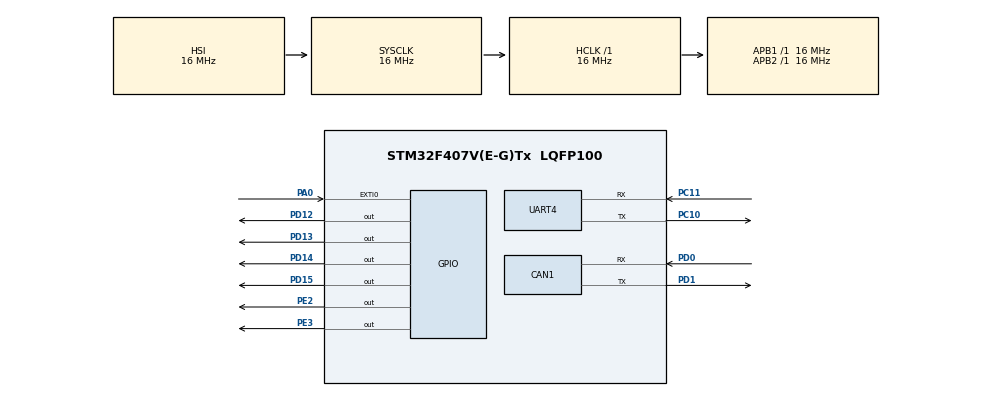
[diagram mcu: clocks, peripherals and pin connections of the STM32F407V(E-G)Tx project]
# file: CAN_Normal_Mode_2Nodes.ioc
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CAN1.ABOM=ENABLE
CAN1.BS1=CAN_BS1_8TQ
CAN1.CalculateTimeQuantum=1000.0
CAN1.NART=ENABLE
Mcu.Family=STM32F4
Mcu.Name=STM32F407V(E-G)Tx
Mcu.Package=LQFP100
NVIC.CAN1_RX0_IRQn=true\:0\:0\:false\:false\:true\:true\:true
NVIC.CAN1_RX1_IRQn=true\:0\:0\:false\:false\:true\:true\:true
NVIC.CAN1_SCE_IRQn=true\:0\:0\:false\:false\:true\:true\:true
NVIC.CAN1_TX_IRQn=true\:0\:0\:false\:false\:true\:true\:true
NVIC.EXTI0_IRQn=true\:0\:0\:false\:false\:true\:true\:true
NVIC.PriorityGroup=NVIC_PRIORITYGROUP_4
NVIC.TIM2_IRQn=true\:0\:0\:false\:false\:true\:true\:true
PA0-WKUP.Signal=GPXTI0
PC10.Mode=Asynchronous
PC10.Signal=UART4_TX
PC11.Mode=Asynchronous
PC11.Signal=UART4_RX
PD0.Mode=Master
PD0.Signal=CAN1_RX
PD1.Mode=Master
PD1.Signal=CAN1_TX
PD12.Signal=GPIO_Output
PD13.Signal=GPIO_Output
PD14.Signal=GPIO_Output
PD15.Signal=GPIO_Output
PE2.Signal=GPIO_Output
PE3.Signal=GPIO_Output
ProjectManager.HeapSize=0x200
ProjectManager.StackSize=0x400
ProjectManager.TargetToolchain=STM32CubeIDE
RCC.AHBFreq_Value=16000000
RCC.APB1Freq_Value=16000000
RCC.APB2Freq_Value=16000000
RCC.CortexFreq_Value=16000000
RCC.HSE_VALUE=25000000
RCC.HSI_VALUE=16000000
RCC.LSE_VALUE=32768
RCC.SYSCLKFreq_VALUE=16000000
RCC.VCOOutputFreq_Value=192000000
TIM2.AutoReloadPreload=TIM_AUTORELOAD_PRELOAD_ENABLE
TIM2.Period=1000
TIM2.Prescaler=16000
TIM2.TIM_MasterOutputTrigger=TIM_TRGO_UPDATE
UART4.VirtualMode=Asynchronous
VP_TIM2_VS_ClockSourceINT.Mode=Internal
board=custom

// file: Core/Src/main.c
/* USER CODE BEGIN Header */
/**
 ******************************************************************************
 * @file           : main.c
 * @brief          : Main program body
 ******************************************************************************
 * @attention
 *
 * <h2><center>&copy; Copyright (c) 2020 STMicroelectronics.
 * All rights reserved.</center></h2>
 *
 * This software component is licensed by ST under BSD 3-Clause license,
 * the "License"; You may not use this file except in compliance with the
 * License. You may obtain a copy of the License at:
 *                        opensource.org/licenses/BSD-3-Clause
 *
 ******************************************************************************
 */
/* USER CODE END Header */

#include "main.h"

/* USER CODE BEGIN Includes */
#include <string.h>
#include <stdio.h>
/* USER CODE END Includes */

CAN_HandleTypeDef hcan1;

TIM_HandleTypeDef htim2;

UART_HandleTypeDef huart4;

void SystemClock_Config(void);
static void MX_GPIO_Init(void);
static void MX_CAN1_Init(void);
static void MX_UART4_Init(void);
static void MX_TIM2_Init(void);
/* USER CODE BEGIN PFP */
void can1_tx(void);
void can1_rx(void);
void can1_filter_config(void);
void LED_Manage_Output(uint8_t val);
void Send_Response(void);
/* USER CODE END PFP */

/* USER CODE BEGIN 0 */
uint8_t req_counter = 0;
/* USER CODE END 0 */

int main(void)
{

  /* MCU Configuration--------------------------------------------------------*/

  /* Reset of all peripherals, Initializes the Flash interface and the Systick. */
  HAL_Init();

  /* Configure the system clock */
  SystemClock_Config();

  /* Initialize all configured peripherals */
  MX_GPIO_Init();
  MX_CAN1_Init();
  MX_UART4_Init();
  MX_TIM2_Init();
  /* USER CODE BEGIN 2 */

  can1_filter_config();

  if (HAL_CAN_ActivateNotification(&hcan1, CAN_IT_TX_MAILBOX_EMPTY | CAN_IT_RX_FIFO0_MSG_PENDING | CAN_IT_BUSOFF) != HAL_OK) //set interrupt enable bits
  {
	Error_Handler();
  }

  if (HAL_CAN_Start(&hcan1) != HAL_OK) //moves operating mode from initialization to normal
  {
    Error_Handler();
  }

  char arr[] = "Hello";
  HAL_UART_Transmit(&huart4, (uint8_t*) arr, (uint16_t) strlen(arr), HAL_MAX_DELAY);
  /* USER CODE END 2 */

  /* Infinite loop */
	while (1) {

	}
}

void SystemClock_Config(void)
{
  RCC_OscInitTypeDef RCC_OscInitStruct = {0};
  RCC_ClkInitTypeDef RCC_ClkInitStruct = {0};

  /** Configure the main internal regulator output voltage
  */
  __HAL_RCC_PWR_CLK_ENABLE();
  __HAL_PWR_VOLTAGESCALING_CONFIG(PWR_REGULATOR_VOLTAGE_SCALE1);
  /** Initializes the CPU, AHB and APB busses clocks
  */
  RCC_OscInitStruct.OscillatorType = RCC_OSCILLATORTYPE_HSI;
  RCC_OscInitStruct.HSIState = RCC_HSI_ON;
  RCC_OscInitStruct.HSICalibrationValue = RCC_HSICALIBRATION_DEFAULT;
  RCC_OscInitStruct.PLL.PLLState = RCC_PLL_NONE;
  if (HAL_RCC_OscConfig(&RCC_OscInitStruct) != HAL_OK)
  {
    Error_Handler();
  }
  /** Initializes the CPU, AHB and APB busses clocks
  */
  RCC_ClkInitStruct.ClockType = RCC_CLOCKTYPE_HCLK|RCC_CLOCKTYPE_SYSCLK
                              |RCC_CLOCKTYPE_PCLK1|RCC_CLOCKTYPE_PCLK2;
  RCC_ClkInitStruct.SYSCLKSource = RCC_SYSCLKSOURCE_HSI;
  RCC_ClkInitStruct.AHBCLKDivider = RCC_SYSCLK_DIV1;
  RCC_ClkInitStruct.APB1CLKDivider = RCC_HCLK_DIV1;
  RCC_ClkInitStruct.APB2CLKDivider = RCC_HCLK_DIV1;

  if (HAL_RCC_ClockConfig(&RCC_ClkInitStruct, FLASH_LATENCY_0) != HAL_OK)
  {
    Error_Handler();
  }
}

static void MX_CAN1_Init(void)
{

  hcan1.Instance = CAN1;
  hcan1.Init.Prescaler = 2;
  hcan1.Init.Mode = CAN_MODE_NORMAL;
  hcan1.Init.SyncJumpWidth = CAN_SJW_1TQ;
  hcan1.Init.TimeSeg1 = CAN_BS1_6TQ;
  hcan1.Init.TimeSeg2 = CAN_BS2_1TQ;
  hcan1.Init.TimeTriggeredMode = DISABLE;
  hcan1.Init.AutoBusOff = ENABLE;
  hcan1.Init.AutoWakeUp = DISABLE;
  hcan1.Init.AutoRetransmission = ENABLE;
  hcan1.Init.ReceiveFifoLocked = DISABLE;
  hcan1.Init.TransmitFifoPriority = DISABLE;
  if (HAL_CAN_Init(&hcan1) != HAL_OK)
  {
    Error_Handler();
  }

}

static void MX_TIM2_Init(void)
{

  TIM_ClockConfigTypeDef sClockSourceConfig = {0};
  TIM_MasterConfigTypeDef sMasterConfig = {0};

  htim2.Instance = TIM2;
  htim2.Init.Prescaler = 16000;
  htim2.Init.CounterMode = TIM_COUNTERMODE_UP;
  htim2.Init.Period = 1000;
  htim2.Init.ClockDivision = TIM_CLOCKDIVISION_DIV1;
  htim2.Init.AutoReloadPreload = TIM_AUTORELOAD_PRELOAD_ENABLE;
  if (HAL_TIM_Base_Init(&htim2) != HAL_OK)
  {
    Error_Handler();
  }
  sClockSourceConfig.ClockSource = TIM_CLOCKSOURCE_INTERNAL;
  if (HAL_TIM_ConfigClockSource(&htim2, &sClockSourceConfig) != HAL_OK)
  {
    Error_Handler();
  }
  sMasterConfig.MasterOutputTrigger = TIM_TRGO_UPDATE;
  sMasterConfig.MasterSlaveMode = TIM_MASTERSLAVEMODE_DISABLE;
  if (HAL_TIMEx_MasterConfigSynchronization(&htim2, &sMasterConfig) != HAL_OK)
  {
    Error_Handler();
  }

}

static void MX_UART4_Init(void)
{

  huart4.Instance = UART4;
  huart4.Init.BaudRate = 115200;
  huart4.Init.WordLength = UART_WORDLENGTH_8B;
  huart4.Init.StopBits = UART_STOPBITS_1;
  huart4.Init.Parity = UART_PARITY_NONE;
  huart4.Init.Mode = UART_MODE_TX_RX;
  huart4.Init.HwFlowCtl = UART_HWCONTROL_NONE;
  huart4.Init.OverSampling = UART_OVERSAMPLING_16;
  if (HAL_UART_Init(&huart4) != HAL_OK)
  {
    Error_Handler();
  }

}

static void MX_GPIO_Init(void)
{
  GPIO_InitTypeDef GPIO_InitStruct = {0};

  /* GPIO Ports Clock Enable */
  __HAL_RCC_GPIOE_CLK_ENABLE();
  __HAL_RCC_GPIOA_CLK_ENABLE();
  __HAL_RCC_GPIOD_CLK_ENABLE();
  __HAL_RCC_GPIOC_CLK_ENABLE();

  /*Configure GPIO pin Output Level */
  HAL_GPIO_WritePin(GPIOE, GPIO_PIN_2|GPIO_PIN_3, GPIO_PIN_RESET);

  /*Configure GPIO pin Output Level */
  HAL_GPIO_WritePin(GPIOD, GPIO_PIN_12|GPIO_PIN_13|GPIO_PIN_14|GPIO_PIN_15, GPIO_PIN_RESET);

  /*Configure GPIO pins : PE2 PE3 */
  GPIO_InitStruct.Pin = GPIO_PIN_2|GPIO_PIN_3;
  GPIO_InitStruct.Mode = GPIO_MODE_OUTPUT_PP;
  GPIO_InitStruct.Pull = GPIO_NOPULL;
  GPIO_InitStruct.Speed = GPIO_SPEED_FREQ_LOW;
  HAL_GPIO_Init(GPIOE, &GPIO_InitStruct);

  /*Configure GPIO pin : PA0 */
  GPIO_InitStruct.Pin = GPIO_PIN_0;
  GPIO_InitStruct.Mode = GPIO_MODE_IT_RISING;
  GPIO_InitStruct.Pull = GPIO_NOPULL;
  HAL_GPIO_Init(GPIOA, &GPIO_InitStruct);

  /*Configure GPIO pins : PD12 PD13 PD14 PD15 */
  GPIO_InitStruct.Pin = GPIO_PIN_12|GPIO_PIN_13|GPIO_PIN_14|GPIO_PIN_15;
  GPIO_InitStruct.Mode = GPIO_MODE_OUTPUT_PP;
  GPIO_InitStruct.Pull = GPIO_NOPULL;
  GPIO_InitStruct.Speed = GPIO_SPEED_FREQ_LOW;
  HAL_GPIO_Init(GPIOD, &GPIO_InitStruct);

  /* EXTI interrupt init*/
  HAL_NVIC_SetPriority(EXTI0_IRQn, 0, 0);
  HAL_NVIC_EnableIRQ(EXTI0_IRQn);

}

/* USER CODE BEGIN 4 */
void LED_Manage_Output(uint8_t val)
{
	switch(val)
	{
		case 1:
			HAL_GPIO_WritePin(GPIOE, GPIO_PIN_12, GPIO_PIN_SET);
			HAL_GPIO_WritePin(GPIOE, GPIO_PIN_13, GPIO_PIN_RESET);
			HAL_GPIO_WritePin(GPIOD, GPIO_PIN_14, GPIO_PIN_RESET);
			HAL_GPIO_WritePin(GPIOD, GPIO_PIN_15, GPIO_PIN_RESET);

			break;
		case 2:
			HAL_GPIO_WritePin(GPIOE, GPIO_PIN_12, GPIO_PIN_RESET);
			HAL_GPIO_WritePin(GPIOE, GPIO_PIN_13, GPIO_PIN_SET);
			HAL_GPIO_WritePin(GPIOD, GPIO_PIN_14, GPIO_PIN_RESET);
			HAL_GPIO_WritePin(GPIOD, GPIO_PIN_15, GPIO_PIN_RESET);

			break;

		case 3:
			HAL_GPIO_WritePin(GPIOD, GPIO_PIN_12, GPIO_PIN_RESET);
			HAL_GPIO_WritePin(GPIOD, GPIO_PIN_13, GPIO_PIN_RESET);
		    HAL_GPIO_WritePin(GPIOD, GPIO_PIN_14, GPIO_PIN_SET);
			HAL_GPIO_WritePin(GPIOD, GPIO_PIN_15, GPIO_PIN_RESET);
			break;
		case 4:
			HAL_GPIO_WritePin(GPIOD, GPIO_PIN_12, GPIO_PIN_RESET);
			HAL_GPIO_WritePin(GPIOD, GPIO_PIN_13, GPIO_PIN_RESET);
			HAL_GPIO_WritePin(GPIOD, GPIO_PIN_14, GPIO_PIN_RESET);
			HAL_GPIO_WritePin(GPIOD, GPIO_PIN_15, GPIO_PIN_SET);
		    break;

		default:
			HAL_GPIO_WritePin(GPIOE, GPIO_PIN_2, GPIO_PIN_RESET);
			HAL_GPIO_WritePin(GPIOE, GPIO_PIN_3, GPIO_PIN_RESET);
			HAL_GPIO_WritePin(GPIOD, GPIO_PIN_14, GPIO_PIN_RESET);
		    HAL_GPIO_WritePin(GPIOD, GPIO_PIN_15, GPIO_PIN_RESET);
		    break;
	}
}

void Send_Response(void)
{
	CAN_TxHeaderTypeDef TxHeader;   //header of the CAN Tx message
	uint32_t txMailbox;
	uint8_t msg[2] = {0xAB, 0xBA};

	TxHeader.DLC = 2;				//Length of data to be sent in bytes
	TxHeader.StdId = 0x651; 		//Standard CAN message 11-bit identifier, not extended identifier 29-bit identifier
	TxHeader.IDE = CAN_ID_STD;		//Type of identifier (standard or extended)
	TxHeader.RTR = CAN_RTR_DATA; 	//N2 sending data frame in response to remote frame from N1

	if (HAL_CAN_AddTxMessage(&hcan1, &TxHeader, msg, &txMailbox) != HAL_OK) {
			Error_Handler();
		}
}

void can1_filter_config(void) {
	CAN_FilterTypeDef can1_filter_init;

	can1_filter_init.FilterActivation = CAN_FILTER_ENABLE; //enable the CAN filter
	can1_filter_init.FilterBank = 0; //out of 28 filter banks, use the 0th filter bank
	can1_filter_init.FilterFIFOAssignment = CAN_RX_FIFO0; //selecting the FIFO to be used (FIFO 0 or FIFO 1)
	can1_filter_init.FilterIdHigh = 0x0000; //setting the identifier reigster of the filter bank (accept all messages)
	can1_filter_init.FilterIdLow = 0x0000;
	can1_filter_init.FilterMaskIdHigh = 0x0000; //setting the mask reigster of the filter bank (accept all messages)
	can1_filter_init.FilterMaskIdLow = 0x0000;
	can1_filter_init.FilterMode = CAN_FILTERMODE_IDMASK; //to select the filter mode (mask mode or identifier list mode)
	can1_filter_init.FilterScale = CAN_FILTERSCALE_32BIT; //to select filter scale (filter registers to be used as 16 bit or 32 bit registers). Mostly used are 32 bit configurations.

	if (HAL_CAN_ConfigFilter(&hcan1, &can1_filter_init) != HAL_OK) { //configure the filter for CAN1
		Error_Handler();
	}
}

uint8_t led_num = 0;

void can1_tx(void) {
	CAN_TxHeaderTypeDef TxHeader; //header of the CAN Tx message

	/*HAL_CAN_AddTxMessage() updates the value of this variable depending
	 the Tx mailbox (out of the 3) in which the message is added
	 */
	uint32_t txMailbox;

	//message to be sent
	uint8_t msg;

	TxHeader.DLC = 1;				//Length of data to be sent in bytes
	TxHeader.StdId = 0x65D; 		//Standard CAN message 11-bit identifier, not extended identifier 29-bit identifier
	TxHeader.IDE = CAN_ID_STD;		//Type of identifier (standard or extended)
	TxHeader.RTR = CAN_RTR_DATA; 	//Sending data frame

	msg = ++led_num;
	if (led_num == 3)
	{
		led_num = 1;
		msg = 1;
	}

	//to add the Tx message to the mailbox and triggers transmission
	if (HAL_CAN_AddTxMessage(&hcan1, &TxHeader, &msg, &txMailbox) != HAL_OK) {
		Error_Handler();
	}

	/*
	 //polling for message to be sent
	 while(HAL_CAN_IsTxMessagePending(&hcan1, txMailbox));

	 //sending a message over UART after CAN message is transmitted
	 char arr[50];
	 sprintf((char *)arr, "Message Transmitted\n");
	 HAL_UART_Transmit(&huart4, (uint8_t *)arr, (uint16_t) strlen(arr), HAL_MAX_DELAY); //blocking UART Tx
	 */
}

//not used
void can1_rx(void) {
	CAN_RxHeaderTypeDef RxHeader;
	/*
	 * Why do we not need to initialize variable RxHeader here? We initialized TxHeader in CAN1_Tx().
	 *	-> It is not mandatory. Since all the members of this structure will be filled by the Rx API.
	 */

	uint8_t rcvd_msg[5];			//to store received data

	while (HAL_CAN_GetRxFifoFillLevel(&hcan1, CAN_RX_FIFO0))
		; //check if any message present in Rx FIFO. Returns the no. of mailboxes filled in the FIFO specified

	if (HAL_CAN_GetRxMessage(&hcan1, CAN_RX_FIFO0, &RxHeader, rcvd_msg)
			!= HAL_OK) //polling based reception
			{
		Error_Handler();
	}

	char arr[50];
	sprintf(arr, "Message Recived - %s\n", rcvd_msg);
	HAL_UART_Transmit(&huart4, (uint8_t*) arr, (uint16_t) strlen(arr),
	HAL_MAX_DELAY); //blocking UART Tx
}

//Tx complete callback is called when the CAN Tx is completed
void HAL_CAN_TxMailbox0CompleteCallback(CAN_HandleTypeDef *hcan) {
	char arr[50];
	sprintf((char*) arr, "Message Transmitted - Mailbox 0\n");
	HAL_UART_Transmit(&huart4, (uint8_t*) arr, (uint16_t) strlen(arr),
	HAL_MAX_DELAY); //blocking UART Tx
}

void HAL_CAN_TxMailbox1CompleteCallback(CAN_HandleTypeDef *hcan) {
	char arr[50];
	sprintf((char*) arr, "Message Transmitted - Mailbox 1\n");
	HAL_UART_Transmit(&huart4, (uint8_t*) arr, (uint16_t) strlen(arr),
	HAL_MAX_DELAY); //blocking UART Tx
}

void HAL_CAN_TxMailbox2CompleteCallback(CAN_HandleTypeDef *hcan) {
	char arr[50];
	sprintf((char*) arr, "Message Transmitted - Mailbox 2\n");
	HAL_UART_Transmit(&huart4, (uint8_t*) arr, (uint16_t) strlen(arr), HAL_MAX_DELAY); //blocking UART Tx
}

void HAL_CAN_RxFifo0MsgPendingCallback(CAN_HandleTypeDef *hcan) {
	CAN_RxHeaderTypeDef RxHeader;
	/*
	 * Why do we not need to initialize variable RxHeader here? We initialized TxHeader in CAN1_Tx().
	 *	-> It is not mandatory. Since all the members of this structure will be filled by the Rx API.
	 */

	uint8_t rcvd_msg[8]; //to store received data, max DLC = 8bytes
	char msg[50];

	//while (HAL_CAN_GetRxFifoFillLevel(&hcan1, CAN_RX_FIFO0)); //check if any message present in Rx FIFO. Returns the no. of mailboxes filled in the FIFO specified

	if (HAL_CAN_GetRxMessage(&hcan1, CAN_RX_FIFO0, &RxHeader, rcvd_msg) != HAL_OK) //polling based reception
	{
		Error_Handler();
	}

	if(RxHeader.StdId == 0x65D && RxHeader.RTR == CAN_RTR_DATA)//For N2
	{
		//data frame sent from N1 to N2 specified by CAN_RTR_DATA
		/*We know it is a message meant for N2 from N1 because we are sending
		 *a CAN message with ID=0x65D from N1 to N2
		*/
		LED_Manage_Output(rcvd_msg[0]);
		sprintf(msg, "Reply from N2 received: %#x", rcvd_msg[0]);
	}
	else if(RxHeader.StdId == 0x651 && RxHeader.RTR == CAN_RTR_REMOTE)//For N2
	{
		//remote frame sent from N1 to N2. Response has to be sent back to N1
		/*
		 * The response message which will be sent from N2 to N1 will have the
		 * same identifier value (0x651) but it will be a data frame
		 * */
		Send_Response();
		return;
	}
	else if(RxHeader.StdId == 0x651 && RxHeader.RTR == CAN_RTR_DATA)//For N1
	{
		//reply from N2 to N1
		sprintf(msg, "Reply from N2 received: %#x", ((rcvd_msg[0] << 8) | (rcvd_msg[1])));
	}

	HAL_UART_Transmit(&huart4, (uint8_t*) msg, (uint16_t) strlen(msg), HAL_MAX_DELAY); //blocking UART Tx
	/*
	char arr[50];
	sprintf(arr, "Message Recived - %s\n", rcvd_msg);
	HAL_UART_Transmit(&huart4, (uint8_t*) arr, (uint16_t) strlen(arr), HAL_MAX_DELAY); //blocking UART Tx
	*/
}

void HAL_CAN_ErrorCallback(CAN_HandleTypeDef *hcan) {

	char arr[50];
	sprintf(arr, "Error Occurred\n");
	HAL_UART_Transmit(&huart4, (uint8_t*) arr, (uint16_t) strlen(arr),
	HAL_MAX_DELAY); //blocking UART Tx
}

void HAL_TIM_PeriodElapsedCallback(TIM_HandleTypeDef *htim) {
	//CAN_TxHeaderTypeDef TxHeader; //header of the CAN Tx message
	//uint32_t txMailbox;

	/*
	if(req_counter == 4)
	{

		uint8_t msg = 0; //msg is meaningless when sending remote frame

		TxHeader.DLC = 2;				//Length of data to be sent in bytes, N1 demanding 2 bytes of reply
		TxHeader.StdId = 0x651; 		//Standard CAN message 11-bit identifier, not extended identifier 29-bit identifier
		TxHeader.IDE = CAN_ID_STD;		//Type of identifier (standard or extended)
		TxHeader.RTR = CAN_RTR_REMOTE; 	//Sending data frame

		if (HAL_CAN_AddTxMessage(&hcan1, &TxHeader, &msg, &txMailbox) != HAL_OK) //msg is meaningless when sending remote frame
		{
			Error_Handler();
		}

		can1_tx();
		req_counter = 0;
	}
	else
	{
		can1_tx();
		req_counter++;
	}
	*/
	can1_tx();
}
/* USER CODE END 4 */

void Error_Handler(void)
{
}

/************************ (C) COPYRIGHT STMicroelectronics *****END OF FILE****/
